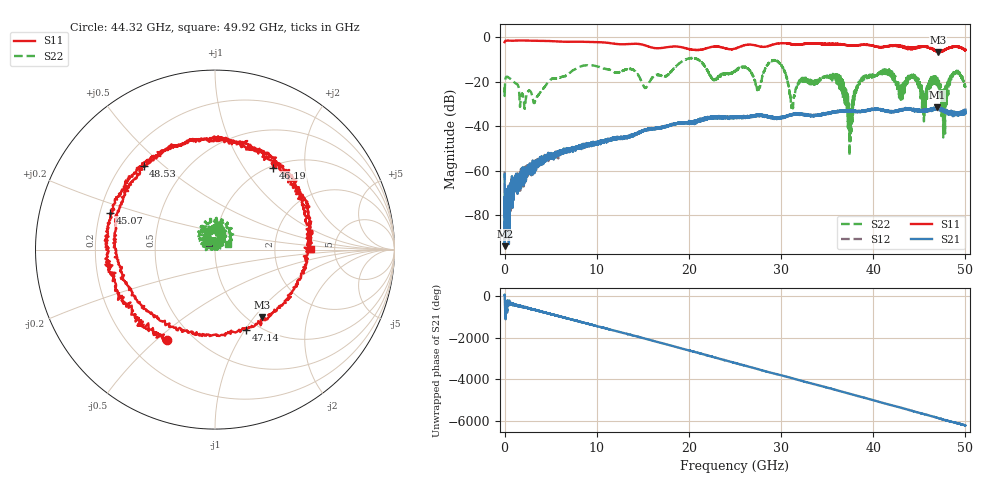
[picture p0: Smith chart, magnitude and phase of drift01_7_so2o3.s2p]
!Created with skrf (http://scikit-rf.org).
# Hz S RI R 50.0
!freq ReS11 ImS11 ReS21 ImS21 ReS12 ImS12 ReS22 ImS22
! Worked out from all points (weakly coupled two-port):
!   10001 points, 300 kHz to 50 GHz, reference 50 ohm
!   highest |S21| = -31.43 dB at 46.93 GHz (marker M1); lowest = -93.9 dB at 15.3 MHz (marker M2)
!   lowest |S11| = -6.7 dB at 47.03 GHz (marker M3), VSWR 2.71, Z = 57.5 - j55.1 ohm
!   |S11| at or under -10 dB: nowhere
!   |S22| runs from -53.3 to -9.2 dB; largest |S21 - S12| = 0.004
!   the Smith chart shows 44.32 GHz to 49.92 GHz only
!   S11 on the Smith chart (normalised r, x): 44.32 GHz: 0.36, -0.54; 45.07 GHz: 0.24, +0.16; 46.19 GHz: 1.03, +1.37; 47.14 GHz: 0.87, -1.01; 48.53 GHz: 0.29, +0.43; 49.92 GHz: 3.28, +0.02
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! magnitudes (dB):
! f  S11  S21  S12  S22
! 300 kHz  -2.1  -61.6  -60.2  -22.5
! 15.3 MHz  -2.0  -93.9  -86.6  -24.8
! 3.29 GHz  -1.5  -58.1  -58.3  -28.9
! 8.335 GHz  -2.0  -48.4  -48.9  -12.9
! 16.67 GHz  -4.8  -40.7  -40.8  -16.7
! 25 GHz  -5.0  -36.1  -35.7  -15.3
! 29.59 GHz  -2.8  -36.5  -36.4  -10.6
! 31.23 GHz  -3.1  -34.5  -34.7  -30.8
! 33.34 GHz  -2.6  -35.0  -35.1  -19.8
! 36.07 GHz  -2.8  -33.5  -33.4  -19.1
! 37.49 GHz  -3.6  -33.2  -33.3  -37.1
! 38.68 GHz  -3.4  -33.4  -33.2  -20.0
! 41.67 GHz  -3.9  -33.2  -33.3  -15.5
! 44.32 GHz  -4.9  -32.8  -32.6  -17.6
! 45.07 GHz  -4.2  -33.0  -33.1  -20.8
! 46.19 GHz  -5.1  -32.5  -32.4  -20.5
! 46.93 GHz  -6.3  -31.4  -32.1  -19.0
! 47.03 GHz  -6.7  -31.8  -31.8  -21.6
! 47.14 GHz  -6.4  -32.5  -32.1  -19.5
! 48.53 GHz  -4.2  -33.7  -34.1  -17.1
! 49.92 GHz  -5.5  -33.2  -33.7  -22.1
! 50 GHz  -5.6  -32.5  -33.5  -22.0
